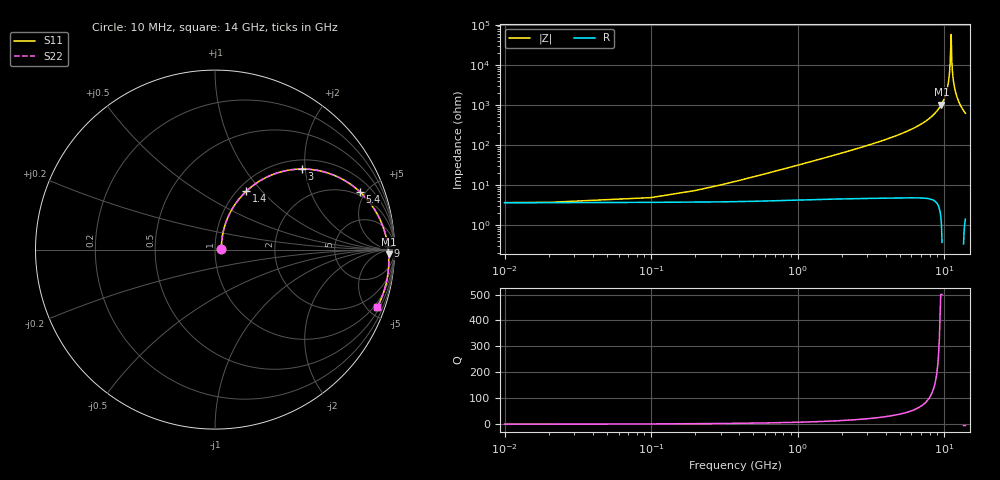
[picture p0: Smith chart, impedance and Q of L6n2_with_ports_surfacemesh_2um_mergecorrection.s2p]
#  GHZ S DB R 50.0
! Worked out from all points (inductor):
!   142 points, 10 MHz to 14 GHz, reference 50 ohm
!   read as one part in series: L = 4.92 nH near 400 MHz
!   highest Q = 926 at 9.6 GHz (marker M1), where L = 16.9 nH
!   self-resonance near 11.1 GHz
!   S11 on the Smith chart (normalised r, x): 10 MHz: 1.07, +0.01; 1.4 GHz: 1.10, +0.83; 3 GHz: 1.20, +1.92; 5.4 GHz: 1.73, +4.57; 9 GHz: 40, +23; 14 GHz: 0.71, -5.76
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0.01  -29.10 4.6  -0.31 -0.2  -0.31 -0.2  -29.10 4.6
0.3  -20.94 62.2  -0.38 -5.6  -0.38 -5.6  -20.94 62.1
0.6  -15.45 68.3  -0.52 -10.8  -0.52 -10.8  -15.45 68.3
1.4  -8.65 61.8  -1.12 -23.6  -1.12 -23.6  -8.65 61.8
2.4  -4.90 49.6  -2.29 -37.7  -2.29 -37.7  -4.90 49.6
3  -3.61 42.9  -3.16 -45.0  -3.16 -45.0  -3.61 42.9
4.7  -1.65 27.1  -6.06 -61.7  -6.06 -61.7  -1.65 27.1
5.4  -1.22 21.8  -7.41 -67.2  -7.41 -67.2  -1.22 21.8
7.1  -0.62 11.0  -11.24 -78.3  -11.24 -78.3  -0.62 11.0
9  -0.32 1.2  -17.43 -88.5  -17.43 -88.5  -0.33 1.2
9.4  -0.29 -0.6  -19.32 -90.5  -19.32 -90.5  -0.29 -0.6
9.6  -0.28 -1.5  -20.43 -91.4  -20.43 -91.4  -0.28 -1.5
10.3  -0.25 -4.6  -25.75 -94.9  -25.75 -94.9  -0.25 -4.6
10.8  -0.24 -6.7  -33.28 -98.0  -33.28 -98.0  -0.24 -6.7
11  -0.24 -7.6  -40.02 -100.6  -40.02 -100.6  -0.24 -7.6
11.2  -0.24 -8.4  -55.39 101.4  -55.39 101.4  -0.24 -8.4
11.3  -0.24 -8.8  -42.67 85.9  -42.67 85.9  -0.24 -8.8
11.4  -0.24 -9.2  -37.69 83.5  -37.69 83.5  -0.24 -9.2
11.5  -0.24 -9.6  -34.56 82.3  -34.56 82.3  -0.24 -9.6
11.7  -0.24 -10.4  -30.47 80.8  -30.47 80.8  -0.24 -10.5
12.5  -0.27 -13.6  -22.63 76.9  -22.63 76.9  -0.27 -13.6
14  -0.36 -19.4  -16.35 70.7  -16.35 70.7  -0.36 -19.4
